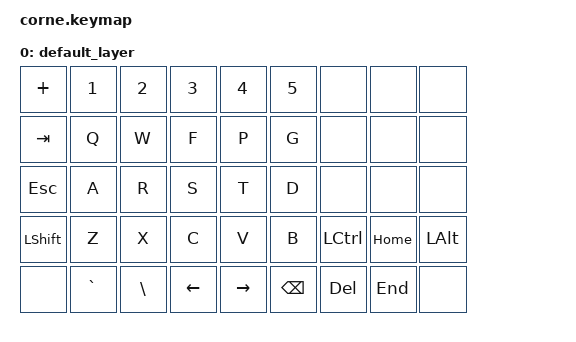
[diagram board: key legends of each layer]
/*
 * Copyright (c) 2020 The ZMK Contributors
 *
 * SPDX-License-Identifier: MIT
 */

#include <behaviors.dtsi>
#include <dt-bindings/zmk/keys.h>
#include <dt-bindings/zmk/bt.h>
#include <dt-bindings/zmk/matrix_transform.h>

/ {
	chosen {
		zmk,kscan = &kscan0;
		zmk,matrix-transform = &my_transform;
	};

	my_transform: matrix_transform {
		compatible = "zmk,matrix-transform";
		columns = <9>;
		rows = <5>;
//		map = <
//			RC(0,0) RC(0,1) RC(0,2) RC(0,3) RC(0,4) RC(0,5) RC(0,6) RC(0,7) RC(0,8) RC(0,9) RC(0,10) RC(0,11) RC(0,12) RC(0,13) RC(0,14) RC(0,15) RC(0,16) RC(0,17)
//			RC(1,0) RC(1,1) RC(1,2) RC(1,3) RC(1,4) RC(1,5) RC(1,6) RC(1,7) RC(1,8) RC(1,9) RC(1,10) RC(1,11) RC(1,12) RC(1,13) RC(1,14) RC(1,15) RC(1,16) RC(1,17)
//			RC(2,0) RC(2,1) RC(2,2) RC(2,3) RC(2,4) RC(2,5) RC(2,6) RC(2,7) RC(2,8) RC(2,9) RC(2,10) RC(2,11) RC(2,12) RC(2,13) RC(2,14) RC(2,15) RC(2,16) RC(2,17)
//			RC(3,0) RC(3,1) RC(3,2) RC(3,3) RC(3,4) RC(3,5) RC(3,6) RC(3,7) RC(3,8) RC(3,9) RC(3,10) RC(3,11) RC(3,12) RC(3,13) RC(3,14) RC(3,15) RC(3,16) RC(3,17)
//			RC(4,0) RC(4,1) RC(4,2) RC(4,3) RC(4,4) RC(4,5) RC(4,6) RC(4,7) RC(4,8) RC(4,9) RC(4,10) RC(4,11) RC(4,12) RC(4,13) RC(4,14) RC(4,15) RC(4,16) RC(4,17)
//		>;
		map = <
			RC(0,0) RC(0,1) RC(0,2) RC(0,3) RC(0,4) RC(0,5) RC(0,6) RC(0,7) RC(0,8)
			RC(1,0) RC(1,1) RC(1,2) RC(1,3) RC(1,4) RC(1,5) RC(1,6) RC(1,7) RC(1,8)
			RC(2,0) RC(2,1) RC(2,2) RC(2,3) RC(2,4) RC(2,5) RC(2,6) RC(2,7) RC(2,8)
			RC(3,0) RC(3,1) RC(3,2) RC(3,3) RC(3,4) RC(3,5) RC(3,6) RC(3,7) RC(3,8)
			RC(4,0) RC(4,1) RC(4,2) RC(4,3) RC(4,4) RC(4,5) RC(4,6) RC(4,7) RC(4,8)
		>;
	};

	kscan0: kscan {
		compatible = "zmk,kscan-gpio-matrix";
		diode-direction = "col2row";
		wakeup-source;
		// need 5 rows
		// and 9 columns
		// https://nicekeyboards.com/docs/nice-nano/pinout-schematic
		// columns along the left
		col-gpios
		    = <&pro_micro 2 GPIO_ACTIVE_HIGH>
		    , <&pro_micro 3 GPIO_ACTIVE_HIGH>
		    , <&pro_micro 4 GPIO_ACTIVE_HIGH>
		    , <&pro_micro 5 GPIO_ACTIVE_HIGH>
		    , <&pro_micro 6 GPIO_ACTIVE_HIGH>
		    , <&pro_micro 7 GPIO_ACTIVE_HIGH>
		    , <&pro_micro 8 GPIO_ACTIVE_HIGH>
		    , <&pro_micro 9  GPIO_ACTIVE_HIGH>
		    , <&pro_micro 21 GPIO_ACTIVE_HIGH>
		    ;
		row-gpios
		    = <&pro_micro 18 (GPIO_ACTIVE_HIGH | GPIO_PULL_DOWN)>
		    , <&pro_micro 15 (GPIO_ACTIVE_HIGH | GPIO_PULL_DOWN)>
		    , <&pro_micro 14 (GPIO_ACTIVE_HIGH | GPIO_PULL_DOWN)>
		    , <&pro_micro 16 (GPIO_ACTIVE_HIGH | GPIO_PULL_DOWN)>
		    , <&pro_micro 10 (GPIO_ACTIVE_HIGH | GPIO_PULL_DOWN)>
		    ;
	};

        keymap {
                compatible = "zmk,keymap";

                default_layer {

//  blue    r   y    w   blu  red   green  white  blue
// | + 	  | 1 | 2 |  3 | 4  | 5   |      |     |      | X |      |     |      | 6   | 7  | 8  | 9 | 0 | -
// | TAB  | q | w |  f | p  | g   |      |     |      | X |      |     |      | j   | l  | u  | y | ; | \
// | ESC  | a | r |  s | t  | d   |      |     |      | X |      |     |      | h   | n  | e  | i | o | '
// | SHFT | z | x |  c | v  | b   | CTRL | HOM | LALT | X | PGUP | SPR | CTRL | k   | m  | ,  | . | ? | SHFT
// |      | ` | \ | <- | -> | BSP | DEL  | END |      | X |      | PDN | ENTR | SPC | UP | DN | [ | ] |

//        bindings = <
 //           &kp PLUS   &kp N1     &kp N2    &kp N3    &kp N4     &kp N5    &kp N6     &kp N6    &kp N6   &kp N6 &kp N6 &kp N6     &kp I   &kp I   &kp I     &kp I    &kp I &kp I
  //          &kp TAB    &kp Q      &kp W     &kp F     &kp P      &kp G     &kp N9     &kp N7    &kp N7   &kp N7 &kp N7 &kp N7     &kp J   &kp J   &kp J     &kp J    &kp J &kp J
   //         &kp ESC    &kp A      &kp R     &kp S     &kp T      &kp D     &kp N8     &kp N8    &kp N8   &kp N8 &kp N8 &kp N8     &kp K   &kp K   &kp K     &kp K    &kp K &kp K
    //        &kp LSHFT  &kp Z      &kp X     &kp C     &kp V      &kp B     &kp LCTRL  &kp LALT  &kp HOME &kp L  &kp L  &kp L      &kp L   &kp L   &kp L     &kp L    &kp L &kp L
     //       &kp N9     &kp GRAVE  &kp BSLH  &kp LEFT  &kp RIGHT  &kp BSPC  &kp DEL    &kp END   &kp N0   &kp N0 &kp M  &kp M      &kp M   &kp M   &kp M     &kp M    &kp M &kp N9     
      //  >;

        bindings = <
//          blue       red        yellow    white     blue       red       green      white     blue
            &kp PLUS   &kp N1     &kp N2    &kp N3    &kp N4     &kp N5    &none      &none     &none    
            &kp TAB    &kp Q      &kp W     &kp F     &kp P      &kp G     &none      &none     &none   
            &kp ESC    &kp A      &kp R     &kp S     &kp T      &kp D     &none      &none     &none  
            &kp LSHFT  &kp Z      &kp X     &kp C     &kp V      &kp B     &kp LCTRL  &kp HOME  &kp LALT
            &none      &kp GRAVE  &kp BSLH  &kp LEFT  &kp RIGHT  &kp BSPC  &kp DEL    &kp END   &none 
        >;

                };
        };
};
